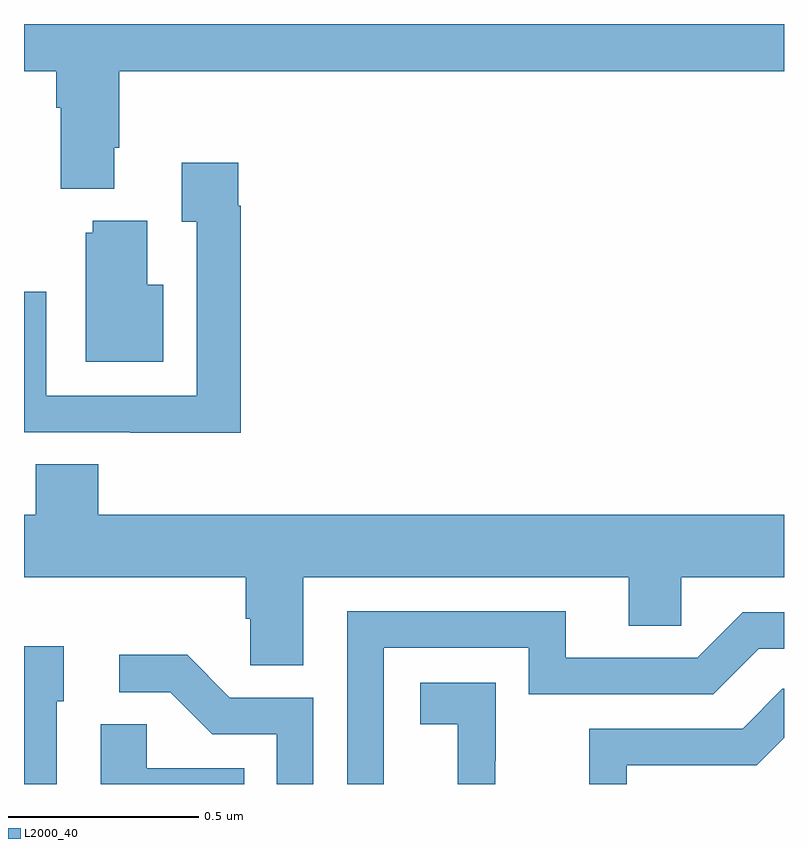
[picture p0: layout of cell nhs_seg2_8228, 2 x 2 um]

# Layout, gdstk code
import gdstk
lib = gdstk.Library(unit=1e-6, precision=1e-09)
def P(c, l, *ps):  # polygons
    for p in ps: c.add(gdstk.Polygon(p, *l))
L2000_40 = (2000, 40)

nhs_seg2_8228 = lib.new_cell('nhs_seg2_8228')
P(nhs_seg2_8228, L2000_40, [(214.237,607.474),(214.25,607.474),(214.25,607.676),(216,607.676),(216,607.8),(214,607.8),(214,607.676),(214.085,607.676),(214.085,607.58),(214.097,607.58),(214.097,607.367),(214.237,607.367)],
  [(214.571,607.322),(214.564,607.322),(214.564,607.435),(214.415,607.435),(214.415,607.279),(214.455,607.279),(214.455,606.822),(214.059,606.822),(214.059,607.096),(214,607.096),(214,606.726),(214.279,606.726),(214.279,606.725),(214.571,606.725)],
  [(214.366,607.114),(214.324,607.114),(214.324,607.282),(214.181,607.282),(214.181,607.251),(214.163,607.251),(214.163,606.911),(214.366,606.911)],
  [(214.735,606.344),(215.591,606.344),(215.591,606.217),(215.73,606.217),(215.73,606.344),(216,606.344),(216,606.508),(214.196,606.508),(214.196,606.641),(214.031,606.641),(214.031,606.508),(214,606.508),(214,606.344),(214.583,606.344),(214.583,606.235),(214.596,606.235),(214.596,606.112),(214.735,606.112)],
  [(214.947,606.159),(215.328,606.159),(215.328,606.036),(215.814,606.036),(215.934,606.156),(216,606.156),(216,606.252),(215.892,606.252),(215.772,606.132),(215.425,606.132),(215.425,606.255),(214.851,606.255),(214.851,605.8),(214.947,605.8)],
  [(214.086,606.018),(214.105,606.018),(214.105,606.163),(214,606.163),(214,605.8),(214.086,605.8)],
  [(214.761,606.027),(214.542,606.027),(214.429,606.14),(214.251,606.14),(214.251,606.042),(214.385,606.042),(214.496,605.931),(214.665,605.931),(214.665,605.8),(214.761,605.8)],
  [(215.24,605.861),(215.241,605.861),(215.241,606.067),(215.043,606.067),(215.043,605.957),(215.141,605.957),(215.141,605.8),(215.24,605.8)],
  [(215.586,605.85),(215.928,605.85),(216,605.922),(216,606.051),(215.996,606.051),(215.891,605.946),(215.488,605.946),(215.488,605.8),(215.586,605.8)],
  [(214.58,605.842),(214.323,605.842),(214.323,605.957),(214.202,605.957),(214.202,605.8),(214.58,605.8)])

lib.write_gds('nhs_seg2_8228.gds')
